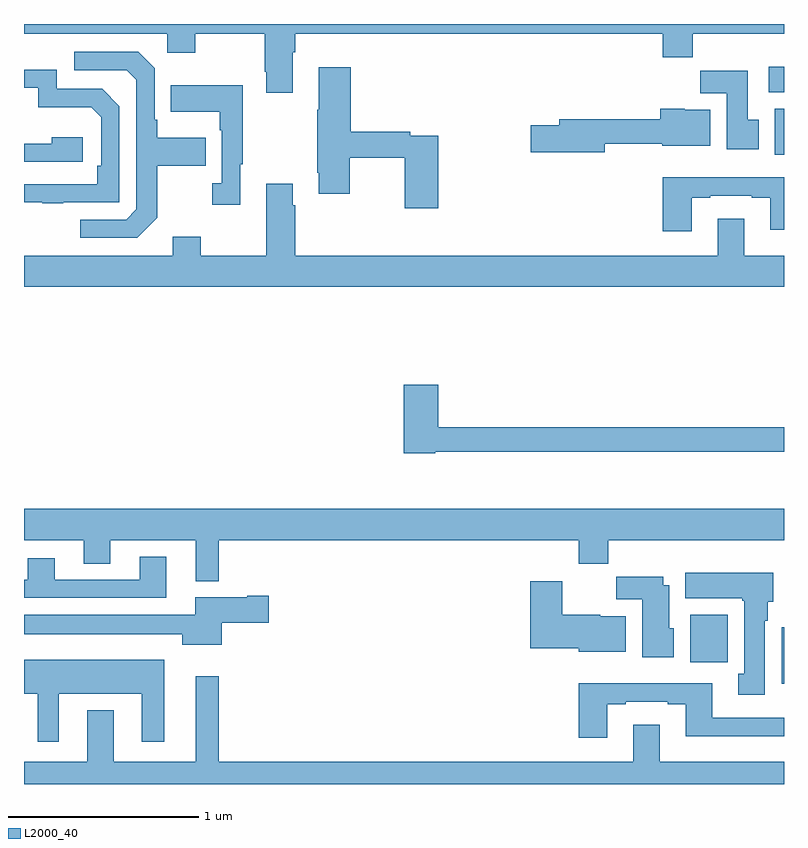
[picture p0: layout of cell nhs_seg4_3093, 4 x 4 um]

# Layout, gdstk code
import gdstk
lib = gdstk.Library(unit=1e-6, precision=1e-09)
def R(c, l, rs):  # rectangles x0, y0, x1, y1
    for r in rs: c.add(gdstk.rectangle(r[:2], r[2:], *l))
def P(c, l, *ps):  # polygons
    for p in ps: c.add(gdstk.Polygon(p, *l))
L2000_40 = (2000, 40)

nhs_seg4_3093 = lib.new_cell('nhs_seg4_3093')
R(nhs_seg4_3093, L2000_40, [(278.987,765.428,279,765.724), (278.507,765.54,278.703,765.79), (278.951,768.212,279,768.454), (278.919,768.542,279,768.676)])
P(nhs_seg4_3093, L2000_40, [(276.415,768.752),(276.428,768.752),(276.428,768.848),(278.363,768.848),(278.363,768.724),(278.519,768.724),(278.519,768.848),(279,768.848),(279,768.9),(275,768.9),(275,768.848),(275.754,768.848),(275.754,768.749),(275.901,768.749),(275.901,768.848),(276.268,768.848),(276.268,768.649),(276.275,768.649),(276.275,768.537),(276.415,768.537)],
  [(275.701,767.881),(275.701,768.154),(275.957,768.154),(275.957,768.301),(275.701,768.301),(275.701,768.397),(275.688,768.397),(275.688,768.666),(275.601,768.753),(275.265,768.753),(275.265,768.657),(275.541,768.657),(275.592,768.606),(275.592,767.925),(275.538,767.871),(275.295,767.871),(275.295,767.775),(275.595,767.775)],
  [(277.181,768.312),(277.034,768.312),(277.034,768.332),(276.719,768.332),(276.719,768.673),(276.551,768.673),(276.551,768.449),(276.544,768.449),(276.544,768.118),(276.551,768.118),(276.551,768.006),(276.714,768.006),(276.714,768.196),(277.003,768.196),(277.003,767.931),(277.181,767.931)],
  [(275.207,767.961),(275.502,767.961),(275.502,768.468),(275.412,768.558),(275.172,768.558),(275.172,768.66),(275,768.66),(275,768.564),(275.076,768.564),(275.076,768.461),(275.353,768.461),(275.406,768.408),(275.406,768.154),(275.386,768.154),(275.386,768.057),(275,768.057),(275,767.961),(275.095,767.961),(275.095,767.956),(275.207,767.956)],
  [(278.866,768.396),(278.809,768.396),(278.809,768.655),(278.56,768.655),(278.56,768.536),(278.699,768.536),(278.699,768.24),(278.866,768.24)],
  [(276.139,768.161),(276.151,768.161),(276.151,768.577),(275.773,768.577),(275.773,768.437),(276.03,768.437),(276.03,768.341),(276.042,768.341),(276.042,768.062),(275.991,768.062),(275.991,767.949),(276.139,767.949)],
  [(278.056,768.271),(278.36,768.271),(278.36,768.26),(278.611,768.26),(278.611,768.448),(278.478,768.448),(278.478,768.454),(278.348,768.454),(278.348,768.4),(277.817,768.4),(277.817,768.366),(277.668,768.366),(277.668,768.224),(278.056,768.224)],
  [(275.308,768.304),(275.147,768.304),(275.147,768.27),(275,768.27),(275,768.174),(275.308,768.174)],
  [(278.515,767.985),(278.611,767.985),(278.611,767.997),(278.831,767.997),(278.831,767.985),(278.927,767.985),(278.927,767.816),(279,767.816),(279,768.094),(278.363,768.094),(278.363,767.808),(278.515,767.808)],
  [(279,767.68),(278.791,767.68),(278.791,767.875),(278.651,767.875),(278.651,767.68),(276.428,767.68),(276.428,767.945),(276.415,767.945),(276.415,768.058),(276.275,768.058),(276.275,767.68),(275.931,767.68),(275.931,767.779),(275.783,767.779),(275.783,767.68),(275,767.68),(275,767.516),(279,767.516)],
  [(277.164,766.65),(279,766.65),(279,766.778),(277.181,766.778),(277.181,767.002),(276.998,767.002),(276.998,766.642),(277.164,766.642)],
  [(276.025,766.184),(277.919,766.184),(277.919,766.06),(278.075,766.06),(278.075,766.184),(279,766.184),(279,766.348),(275,766.348),(275,766.184),(275.315,766.184),(275.315,766.06),(275.455,766.06),(275.455,766.184),(275.903,766.184),(275.903,765.968),(276.025,765.968)],
  [(275.749,766.096),(275.609,766.096),(275.609,765.975),(275.161,765.975),(275.161,766.087),(275.021,766.087),(275.021,765.975),(275,765.975),(275,765.879),(275.749,765.879)],
  [(278.899,765.758),(278.914,765.758),(278.914,765.858),(278.944,765.858),(278.944,766.012),(278.48,766.012),(278.48,765.878),(278.779,765.878),(278.779,765.865),(278.792,765.865),(278.792,765.481),(278.759,765.481),(278.759,765.369),(278.899,765.369)],
  [(278.419,765.72),(278.395,765.72),(278.395,765.946),(278.365,765.946),(278.365,765.991),(278.116,765.991),(278.116,765.872),(278.255,765.872),(278.255,765.566),(278.419,765.566)],
  [(278.167,765.784),(278.034,765.784),(278.034,765.79),(277.834,765.79),(277.834,765.967),(277.664,765.967),(277.664,765.614),(277.92,765.614),(277.92,765.596),(278.167,765.596)],
  [(276.04,765.749),(276.289,765.749),(276.289,765.891),(276.176,765.891),(276.176,765.883),(275.9,765.883),(275.9,765.79),(275,765.79),(275,765.689),(275.834,765.689),(275.834,765.632),(276.04,765.632)],
  [(275.182,765.374),(275.621,765.374),(275.621,765.123),(275.737,765.123),(275.737,765.553),(275,765.553),(275,765.374),(275.072,765.374),(275.072,765.123),(275.182,765.123)],
  [(279,765.016),(278.347,765.016),(278.347,765.211),(278.207,765.211),(278.207,765.016),(276.025,765.016),(276.025,765.466),(275.903,765.466),(275.903,765.016),(275.473,765.016),(275.473,765.289),(275.333,765.289),(275.333,765.016),(275,765.016),(275,764.9),(279,764.9)],
  [(278.071,765.321),(278.167,765.321),(278.167,765.333),(278.387,765.333),(278.387,765.321),(278.483,765.321),(278.483,765.152),(279,765.152),(279,765.249),(278.623,765.249),(278.623,765.43),(277.919,765.43),(277.919,765.144),(278.071,765.144)])

lib.write_gds('nhs_seg4_3093.gds')
